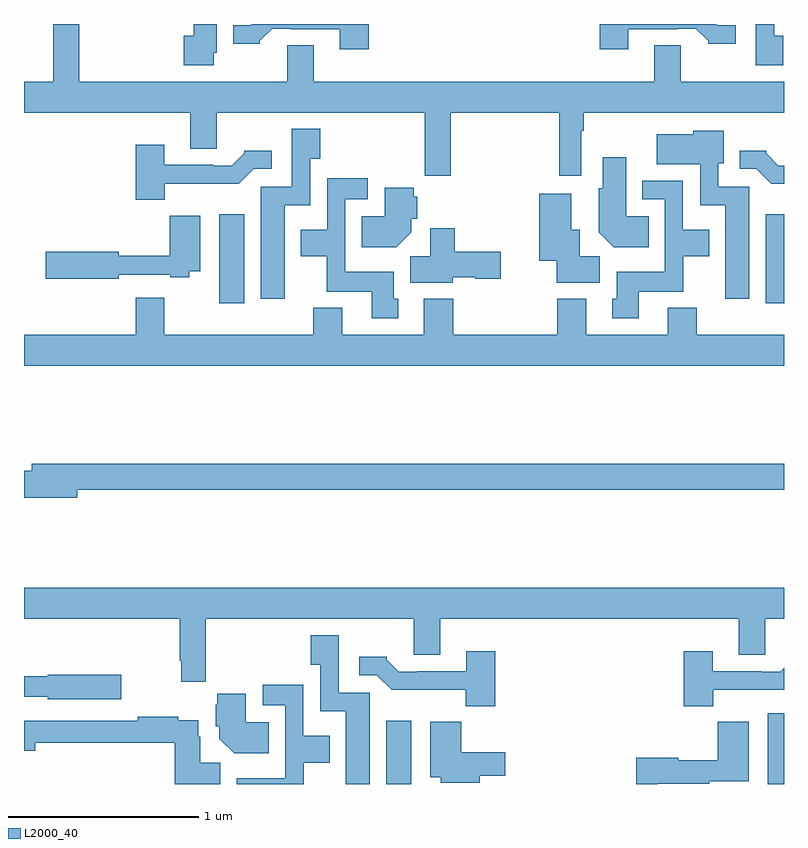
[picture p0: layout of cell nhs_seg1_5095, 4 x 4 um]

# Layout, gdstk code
import gdstk
lib = gdstk.Library(unit=1e-6, precision=1e-09)
def R(c, l, rs):  # rectangles x0, y0, x1, y1
    for r in rs: c.add(gdstk.rectangle(r[:2], r[2:], *l))
def P(c, l, *ps):  # polygons
    for p in ps: c.add(gdstk.Polygon(p, *l))
L2000_40 = (2000, 40)

nhs_seg1_5095 = lib.new_cell('nhs_seg1_5095')
R(nhs_seg1_5095, L2000_40, [(388.907,548.199,389.038,548.533), (390.914,548.199,391,548.572), (388.028,550.728,388.159,551.197), (390.905,550.728,391,551.197)])
P(nhs_seg1_5095, L2000_40, [(389.246,551.732),(389.818,551.732),(389.818,551.4),(389.934,551.4),(389.934,551.636),(389.947,551.636),(389.947,551.732),(391,551.732),(391,551.896),(390.457,551.896),(390.457,552.086),(390.317,552.086),(390.317,551.896),(388.525,551.896),(388.525,552.086),(388.385,552.086),(388.385,551.896),(387.29,551.896),(387.29,552.199),(387.154,552.199),(387.154,551.896),(387,551.896),(387,551.732),(387.875,551.732),(387.875,551.542),(388.015,551.542),(388.015,551.732),(389.11,551.732),(389.11,551.4),(389.246,551.4)],
  [(388.814,552.199),(388.198,552.199),(388.191,552.192),(388.1,552.192),(388.1,552.095),(388.242,552.095),(388.242,552.11),(388.306,552.174),(388.405,552.174),(388.405,552.171),(388.661,552.171),(388.661,552.066),(388.814,552.066)],
  [(390.181,552.171),(390.437,552.171),(390.437,552.174),(390.536,552.174),(390.6,552.11),(390.6,552.095),(390.745,552.095),(390.745,552.192),(390.651,552.192),(390.644,552.199),(390.029,552.199),(390.029,552.066),(390.181,552.066)],
  [(387.999,552.048),(388.015,552.048),(388.015,552.199),(387.893,552.199),(387.893,552.138),(387.842,552.138),(387.842,551.982),(387.999,551.982)],
  [(390.996,552.138),(390.948,552.138),(390.948,552.199),(390.852,552.199),(390.852,551.982),(390.996,551.982)],
  [(388.372,551.246),(388.506,551.246),(388.506,551.491),(388.559,551.491),(388.559,551.647),(388.41,551.647),(388.41,551.343),(388.247,551.343),(388.247,550.752),(388.372,550.752)],
  [(390.817,551.343),(390.654,551.343),(390.654,551.466),(390.682,551.466),(390.682,551.638),(390.522,551.638),(390.522,551.62),(390.33,551.62),(390.33,551.462),(390.558,551.462),(390.558,551.246),(390.692,551.246),(390.692,550.752),(390.817,550.752)],
  [(387.742,551.358),(388.131,551.358),(388.209,551.436),(388.303,551.436),(388.303,551.533),(388.158,551.533),(388.158,551.518),(388.094,551.454),(387.995,551.454),(387.995,551.457),(387.739,551.457),(387.739,551.563),(387.587,551.563),(387.587,551.273),(387.742,551.273)],
  [(391,551.454),(390.97,551.454),(390.906,551.518),(390.906,551.533),(390.767,551.533),(390.767,551.436),(390.855,551.436),(390.934,551.358),(391,551.358)],
  [(390.287,551.188),(390.169,551.188),(390.169,551.497),(390.047,551.497),(390.047,551.334),(390.026,551.334),(390.026,551.102),(390.104,551.024),(390.287,551.024)],
  [(388.969,550.752),(388.945,550.752),(388.945,550.894),(388.692,550.894),(388.692,551.277),(388.81,551.277),(388.81,551.386),(388.596,551.386),(388.596,551.116),(388.457,551.116),(388.457,550.976),(388.594,550.976),(388.594,550.79),(388.829,550.79),(388.829,550.65),(388.969,550.65)],
  [(390.235,550.79),(390.471,550.79),(390.471,550.976),(390.607,550.976),(390.607,551.116),(390.468,551.116),(390.468,551.373),(390.255,551.373),(390.255,551.277),(390.372,551.277),(390.372,550.894),(390.119,550.894),(390.119,550.752),(390.095,550.752),(390.095,550.65),(390.235,550.65)],
  [(389.038,551.102),(389.038,551.175),(389.069,551.175),(389.069,551.289),(389.051,551.289),(389.051,551.338),(388.898,551.338),(388.898,551.188),(388.777,551.188),(388.777,551.024),(388.96,551.024)],
  [(390.031,550.976),(389.926,550.976),(389.926,551.116),(389.881,551.116),(389.881,551.305),(389.711,551.305),(389.711,550.952),(389.804,550.952),(389.804,550.838),(390.031,550.838)],
  [(387.498,550.878),(387.77,550.878),(387.77,550.866),(387.87,550.866),(387.87,550.898),(387.928,550.898),(387.928,551.191),(387.766,551.191),(387.766,550.979),(387.498,550.979),(387.498,551),(387.114,551),(387.114,550.858),(387.498,550.858)],
  [(389.256,550.865),(389.376,550.865),(389.376,550.858),(389.509,550.858),(389.509,551),(389.268,551),(389.268,551.125),(389.138,551.125),(389.138,550.976),(389.033,550.976),(389.033,550.838),(389.256,550.838)],
  [(391,550.564),(390.542,550.564),(390.542,550.705),(390.389,550.705),(390.389,550.564),(389.959,550.564),(389.959,550.753),(389.807,550.753),(389.807,550.564),(389.258,550.564),(389.258,550.753),(389.105,550.753),(389.105,550.564),(388.675,550.564),(388.675,550.705),(388.523,550.705),(388.523,550.564),(387.739,550.564),(387.739,550.759),(387.587,550.759),(387.587,550.564),(387,550.564),(387,550.4),(391,550.4)],
  [(387.28,549.748),(391,549.748),(391,549.884),(387.041,549.884),(387.041,549.848),(387,549.848),(387,549.706),(387.28,549.706)],
  [(387.956,549.068),(389.051,549.068),(389.051,548.878),(389.191,548.878),(389.191,549.068),(390.761,549.068),(390.761,548.878),(390.901,548.878),(390.901,549.068),(391,549.068),(391,549.232),(387,549.232),(387,549.068),(387.82,549.068),(387.82,548.848),(387.828,548.848),(387.828,548.736),(387.956,548.736)],
  [(388.819,548.679),(388.656,548.679),(388.656,548.983),(388.508,548.983),(388.508,548.827),(388.56,548.827),(388.56,548.582),(388.694,548.582),(388.694,548.199),(388.819,548.199)],
  [(390.628,548.696),(391,548.696),(391,548.81),(390.98,548.79),(390.881,548.79),(390.881,548.793),(390.625,548.793),(390.625,548.899),(390.473,548.899),(390.473,548.609),(390.628,548.609)],
  [(389.48,548.899),(389.327,548.899),(389.327,548.793),(389.071,548.793),(389.071,548.79),(388.972,548.79),(388.908,548.854),(388.908,548.869),(388.764,548.869),(388.764,548.772),(388.857,548.772),(388.936,548.694),(389.325,548.694),(389.325,548.609),(389.48,548.609)],
  [(387.511,548.775),(387.126,548.775),(387.126,548.767),(387,548.767),(387,548.658),(387.126,548.658),(387.126,548.645),(387.511,548.645)],
  [(388.473,548.312),(388.609,548.312),(388.609,548.452),(388.47,548.452),(388.47,548.722),(388.257,548.722),(388.257,548.613),(388.374,548.613),(388.374,548.23),(388.121,548.23),(388.121,548.199),(388.473,548.199)],
  [(388.289,548.524),(388.168,548.524),(388.168,548.674),(388.016,548.674),(388.016,548.616),(388.01,548.616),(388.01,548.502),(388.028,548.502),(388.028,548.438),(388.106,548.36),(388.289,548.36)],
  [(388.033,548.312),(387.928,548.312),(387.928,548.448),(387.916,548.448),(387.916,548.534),(387.812,548.534),(387.812,548.552),(387.598,548.552),(387.598,548.532),(387,548.532),(387,548.374),(387.058,548.374),(387.058,548.416),(387.794,548.416),(387.794,548.199),(388.033,548.199)],
  [(389.398,548.243),(389.533,548.243),(389.533,548.365),(389.3,548.365),(389.3,548.527),(389.138,548.527),(389.138,548.234),(389.193,548.234),(389.193,548.206),(389.398,548.206)],
  [(390.334,548.201),(390.606,548.201),(390.606,548.213),(390.814,548.213),(390.814,548.527),(390.652,548.527),(390.652,548.323),(390.444,548.323),(390.444,548.336),(390.222,548.336),(390.222,548.199),(390.334,548.199)])

lib.write_gds('nhs_seg1_5095.gds')
